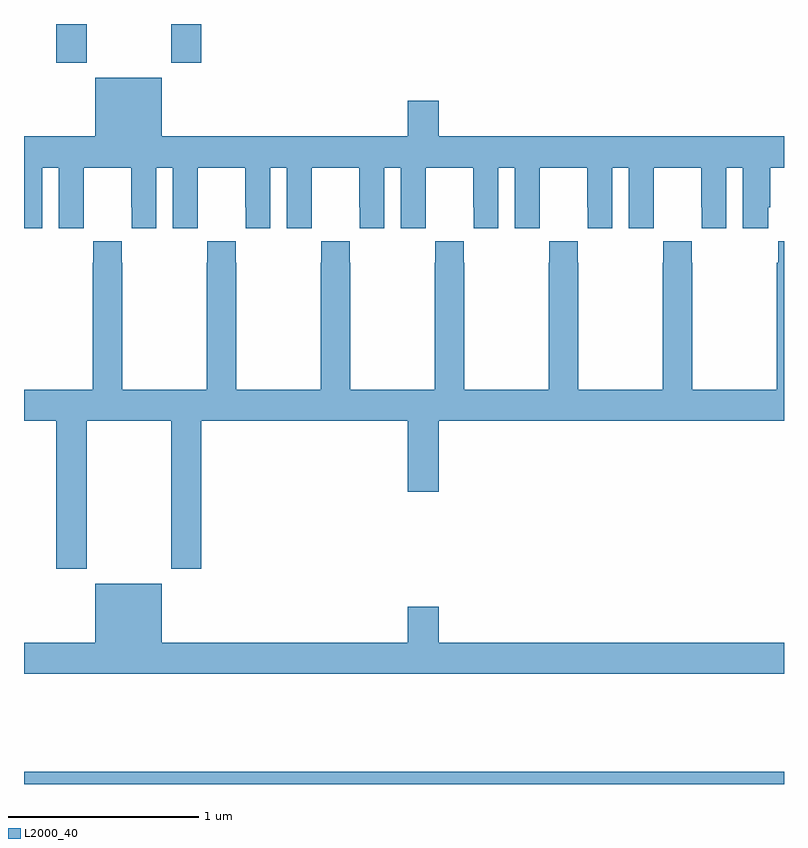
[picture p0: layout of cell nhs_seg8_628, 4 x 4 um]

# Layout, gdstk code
import gdstk
lib = gdstk.Library(unit=1e-6, precision=1e-09)
def R(c, l, rs):  # rectangles x0, y0, x1, y1
    for r in rs: c.add(gdstk.rectangle(r[:2], r[2:], *l))
def P(c, l, *ps):  # polygons
    for p in ps: c.add(gdstk.Polygon(p, *l))
L2000_40 = (2000, 40)

nhs_seg8_628 = lib.new_cell('nhs_seg8_628')
R(nhs_seg8_628, L2000_40, [(151,1135.9,155,1135.964), (151.169,1139.697,151.329,1139.9), (151.774,1139.697,151.934,1139.9)])
P(nhs_seg8_628, L2000_40, [(151.096,1139.144),(151.184,1139.144),(151.184,1138.824),(151.314,1138.824),(151.314,1138.936),(151.315,1138.936),(151.315,1139.144),(151.565,1139.144),(151.565,1138.936),(151.566,1138.936),(151.566,1138.824),(151.696,1138.824),(151.696,1139.144),(151.784,1139.144),(151.784,1138.824),(151.914,1138.824),(151.914,1138.936),(151.915,1138.936),(151.915,1139.144),(152.165,1139.144),(152.165,1138.936),(152.166,1138.936),(152.166,1138.824),(152.296,1138.824),(152.296,1139.144),(152.384,1139.144),(152.384,1138.824),(152.514,1138.824),(152.514,1138.936),(152.515,1138.936),(152.515,1139.144),(152.765,1139.144),(152.765,1138.936),(152.766,1138.936),(152.766,1138.824),(152.896,1138.824),(152.896,1139.144),(152.984,1139.144),(152.984,1138.824),(153.114,1138.824),(153.114,1138.936),(153.115,1138.936),(153.115,1139.144),(153.365,1139.144),(153.365,1138.936),(153.366,1138.936),(153.366,1138.824),(153.496,1138.824),(153.496,1139.144),(153.584,1139.144),(153.584,1138.824),(153.714,1138.824),(153.714,1138.936),(153.715,1138.936),(153.715,1139.144),(153.965,1139.144),(153.965,1138.936),(153.966,1138.936),(153.966,1138.824),(154.096,1138.824),(154.096,1139.144),(154.184,1139.144),(154.184,1138.824),(154.314,1138.824),(154.314,1138.936),(154.315,1138.936),(154.315,1139.144),(154.565,1139.144),(154.565,1138.936),(154.566,1138.936),(154.566,1138.824),(154.696,1138.824),(154.696,1139.144),(154.784,1139.144),(154.784,1138.824),(154.918,1138.824),(154.918,1138.936),(154.928,1138.936),(154.928,1139.144),(155,1139.144),(155,1139.308),(153.184,1139.308),(153.184,1139.497),(153.02,1139.497),(153.02,1139.308),(151.726,1139.308),(151.726,1139.617),(151.376,1139.617),(151.376,1139.308),(151,1139.308),(151,1138.824),(151.096,1138.824)],
  [(151.774,1137.033),(151.934,1137.033),(151.934,1137.812),(153.02,1137.812),(153.02,1137.438),(153.184,1137.438),(153.184,1137.812),(155,1137.812),(155,1138.756),(154.969,1138.756),(154.969,1138.643),(154.963,1138.643),(154.963,1137.976),(154.518,1137.976),(154.518,1138.643),(154.515,1138.643),(154.515,1138.756),(154.365,1138.756),(154.365,1138.643),(154.363,1138.643),(154.363,1137.976),(153.918,1137.976),(153.918,1138.643),(153.915,1138.643),(153.915,1138.756),(153.765,1138.756),(153.765,1138.643),(153.763,1138.643),(153.763,1137.976),(153.318,1137.976),(153.318,1138.643),(153.315,1138.643),(153.315,1138.756),(153.165,1138.756),(153.165,1138.643),(153.163,1138.643),(153.163,1137.976),(152.718,1137.976),(152.718,1138.643),(152.715,1138.643),(152.715,1138.756),(152.565,1138.756),(152.565,1138.643),(152.563,1138.643),(152.563,1137.976),(152.118,1137.976),(152.118,1138.643),(152.115,1138.643),(152.115,1138.756),(151.965,1138.756),(151.965,1138.643),(151.963,1138.643),(151.963,1137.976),(151.518,1137.976),(151.518,1138.643),(151.515,1138.643),(151.515,1138.756),(151.365,1138.756),(151.365,1138.643),(151.363,1138.643),(151.363,1137.976),(151,1137.976),(151,1137.812),(151.169,1137.812),(151.169,1137.033),(151.329,1137.033),(151.329,1137.812),(151.774,1137.812)],
  [(155,1136.644),(153.184,1136.644),(153.184,1136.833),(153.02,1136.833),(153.02,1136.644),(151.726,1136.644),(151.726,1136.953),(151.376,1136.953),(151.376,1136.644),(151,1136.644),(151,1136.48),(155,1136.48)])

lib.write_gds('nhs_seg8_628.gds')
